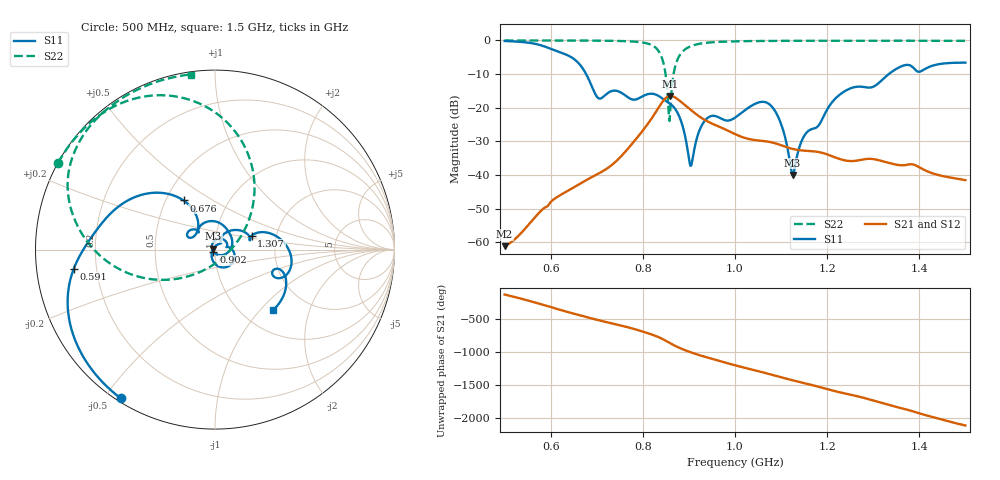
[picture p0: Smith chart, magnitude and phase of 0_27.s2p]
! TOUCHSTONE file generated by CST MICROWAVE STUDIO
! Date and time: Sat Oct 24 11:16:04 2020
! Project name: Scenario_1_Circular_Tissue_in_Line.cst
! Parameters = {L_HA=400; MT=2.54; Rad_Dielectric=30; Rad_Lower=7.3; Rad_Upper=30; a_HA=580; a_WG=246; b_HA=500; b_WG=121; c_HA=0; c_WG=187; d_feed=85; dx1=623.32; h_feed=15; h_lower=18; h_upper=40}
! Header version: 2018
! Port assignment regex: !\s*Touchstone port\s*([0-9]+)\s*=\s*(CST MWS port|CST DS port)\s*([0-9]+|Zmin|Zmax)\s*\(\"(.*)\"\)(\s*mode\s*([0-9]+))?.*
! Touchstone port assignment:
! Touchstone port 1 = CST MWS port 1 ("")
! Touchstone port 2 = CST MWS port 2 ("")
# GHz S DB R 50
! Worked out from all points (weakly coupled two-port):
!   1003 points, 500 MHz to 1.5 GHz, reference 50 ohm
!   highest |S21| = -16.47 dB at 860 MHz (marker M1); lowest = -61.1 dB at 500 MHz (marker M2)
!   lowest |S11| = -39.9 dB at 1.125 GHz (marker M3), VSWR 1.02, Z = 49.1 + j0.475 ohm
!   |S11| at or under -10 dB: 676.9 MHz to 1.334 GHz (656.7 MHz wide, 65.3 % of centre)
!   |S22| runs from -23.9 to 0.0 dB; largest |S21 - S12| = 7.2e-05
!   S11 on the Smith chart (normalised r, x): 500 MHz: 0.01, -0.55; 591 MHz: 0.12, -0.07; 676 MHz: 0.61, +0.38; 902 MHz: 0.98, -0.02; 1.307 GHz: 1.49, +0.24; 1.5 GHz: 1.36, -1.18
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0.5  -0.17 -122.4  -61.12 -123.3  -61.12 -123.3  -0.01 151.1
0.591  -2.00 -172.3  -49.39 63.3  -49.39 63.3  -0.02 144.8
0.667  -7.83 130.1  -42.30 -86.2  -42.30 -86.2  -0.04 138.4
0.676  -9.77 122.6  -41.59 -103.1  -41.59 -103.1  -0.05 137.5
0.705  -17.25 139.9  -39.46 -155.9  -39.46 -155.9  -0.07 134.2
0.789  -17.34 133.3  -28.65 56.2  -28.65 56.2  -0.44 117.5
0.834  -16.47 79.8  -20.01 -51.7  -20.01 -51.7  -3.13 83.2
0.848  -17.80 57.2  -17.34 -99.6  -17.34 -99.6  -8.94 52.6
0.855  -18.44 45.4  -16.61 -127.0  -16.61 -127.0  -18.62 14.5
0.86  -18.91 35.8  -16.47 -146.9  -16.47 -146.9  -19.40 -109.6
0.874  -21.18 2.2  -17.31 162.2  -17.31 162.2  -6.09 -164.3
0.902  -36.67 -125.1  -20.40 82.4  -20.40 82.4  -1.84 166.9
0.938  -23.32 62.1  -23.86 2.5  -23.86 2.5  -0.70 152.1
1  -22.94 11.8  -27.81 -120.4  -27.81 -120.4  -0.27 140.3
1.077  -19.23 -65.7  -30.20 100.0  -30.20 100.0  -0.14 131.8
1.102  -25.61 -108.5  -31.23 52.1  -31.23 52.1  -0.12 129.5
1.125  -39.94 151.3  -32.22 11.9  -32.22 11.9  -0.11 127.5
1.167  -26.33 45.8  -32.90 -60.9  -32.90 -60.9  -0.10 124.2
1.233  -15.53 40.6  -35.46 179.5  -35.46 179.5  -0.08 119.1
1.307  -13.20 20.8  -35.42 48.5  -35.42 48.5  -0.09 113.5
1.334  -9.96 16.7  -36.38 -4.0  -36.38 -4.0  -0.09 111.4
1.5  -6.61 -46.5  -41.51 44.0  -41.51 44.5  -0.13 97.8
